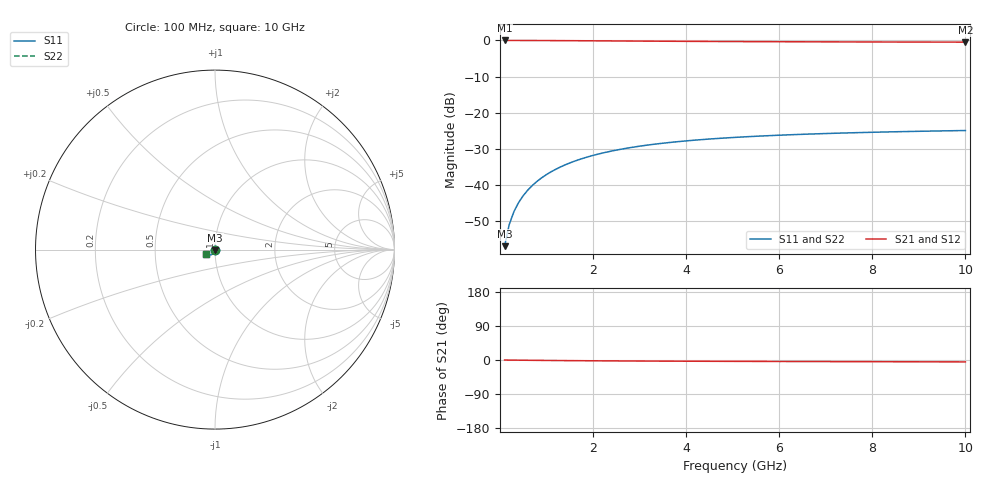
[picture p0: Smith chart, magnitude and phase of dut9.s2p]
! Touchstone file exported from HFSS 2024.1.0
!  File:  C:/UserFiles/LocalFiles/RDL_TSV_Batchsim/temp_TSV1_9_1779368038.aedt
!  Generated:  09:01:15 PM May 21, 2026
!  Design:  TSV1
!  Project:  temp_TSV1_9_1779368038
!  Setup:  Setup1
!  Solution:  Sweep
! Variables:
!  dtsv = 11.55um
!  hbump = 3um
!  htsv = 77.41um
!  lrdl = 252.1521522um
!  p = 40
!  p1 = 40.06um
!  t = 500um
!  trdl = 3um
!  wrdl = 24.89489489um
# GHz S MA R 50.000000
! Terminal data exported
! Port[1] = TSV22_T1
! Port[2] = TSV22_T2
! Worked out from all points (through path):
!   100 points, 100 MHz to 10 GHz, reference 50 ohm
!   highest |S21| = 0.00 dB at 100 MHz (marker M1); lowest = -0.5 dB at 10 GHz (marker M2)
!   lowest |S11| = -56.9 dB at 100 MHz (marker M3), VSWR 1.00, Z = 50 - j0.143 ohm
!   |S11| at or under -10 dB: start of sweep to end of sweep
!   |S22| runs from -56.9 to -24.9 dB; largest |S21 - S12| = 2.2e-15
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0.1  0.001436 -87.0  0.9998 -0.1  0.9998 -0.1  0.001436 -87.0
! Gamma 0 0 0 0
! Port Impedance 50 0 50 0
0.2  0.002871 -90.4  0.9997 -0.2  0.9997 -0.2  0.002871 -90.4
0.3  0.004308 -92.5  0.9995 -0.4  0.9995 -0.4  0.004308 -92.5
0.4  0.005741 -94.3  0.9993 -0.5  0.9993 -0.5  0.005741 -94.3
0.5  0.007164 -95.9  0.999 -0.6  0.999 -0.6  0.007164 -95.9
0.6  0.008573 -97.5  0.9986 -0.7  0.9986 -0.7  0.008573 -97.5
0.7  0.009965 -99.0  0.9981 -0.8  0.9981 -0.8  0.009965 -99.0
0.8  0.01134 -100.5  0.9976 -0.9  0.9976 -0.9  0.01134 -100.5
0.9  0.01269 -101.9  0.997 -1.1  0.997 -1.1  0.01269 -101.9
1.1  0.01532 -104.7  0.9957 -1.3  0.9957 -1.3  0.01532 -104.7
1.4  0.01908 -108.7  0.9935 -1.6  0.9935 -1.6  0.01908 -108.7
1.6  0.02143 -111.2  0.9919 -1.7  0.9919 -1.7  0.02143 -111.2
1.8  0.02366 -113.6  0.9902 -1.9  0.9902 -1.9  0.02366 -113.6
2.1  0.02678 -116.9  0.9876 -2.1  0.9876 -2.1  0.02678 -116.9
2.5  0.03052 -121.1  0.9841 -2.4  0.9841 -2.4  0.03052 -121.1
2.9  0.03381 -124.8  0.9807 -2.7  0.9807 -2.7  0.03381 -124.8
3.4  0.03736 -129.0  0.9766 -2.9  0.9766 -2.9  0.03736 -129.0
4.2  0.04196 -134.6  0.9707 -3.3  0.9707 -3.3  0.04196 -134.6
5.1  0.04595 -139.7  0.9651 -3.6  0.9651 -3.6  0.04595 -139.7
6.7  0.05098 -146.7  0.9575 -4.1  0.9575 -4.1  0.05098 -146.7
8.4  0.05456 -152.1  0.9518 -4.6  0.9518 -4.6  0.05456 -152.1
10  0.05691 -156.1  0.948 -5.0  0.948 -5.0  0.05691 -156.1
